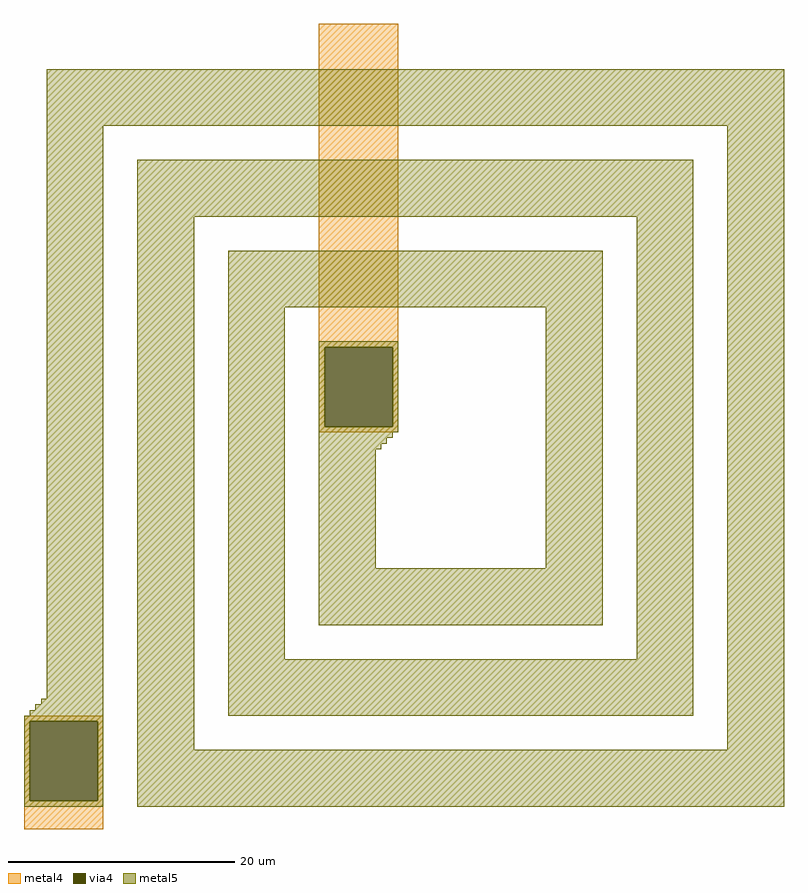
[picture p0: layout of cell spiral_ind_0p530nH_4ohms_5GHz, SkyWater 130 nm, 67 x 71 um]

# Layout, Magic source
magic
tech sky130B
<< metal4 >>
rect 2400 4050 3100 6900
rect 2400 3350 2450 4050
rect 3050 3350 3100 4050
rect 2400 3300 3100 3350
rect -200 750 500 800
rect -200 50 -150 750
rect 450 50 500 750
rect -200 -200 500 50
<< via4 >>
rect 2450 3350 3050 4050
rect -150 50 450 750
<< metal5 >>
rect 0 6000 6500 6500
rect 0 950 500 6000
rect -50 900 500 950
rect -100 850 500 900
rect -150 800 500 850
rect -200 750 500 800
rect -200 50 -150 750
rect 450 50 500 750
rect -200 0 500 50
rect 800 5200 5700 5700
rect 800 500 1300 5200
rect 1600 4400 4900 4900
rect 1600 1300 2100 4400
rect 2400 4050 3100 4100
rect 2400 3350 2450 4050
rect 3050 3350 3100 4050
rect 2400 3300 3100 3350
rect 2400 3250 3050 3300
rect 2400 3200 3000 3250
rect 2400 3150 2950 3200
rect 2400 2100 2900 3150
rect 4400 2100 4900 4400
rect 2400 1600 4900 2100
rect 5200 1300 5700 5200
rect 1600 800 5700 1300
rect 6000 500 6500 6000
rect 800 0 6500 500
<< end >>
